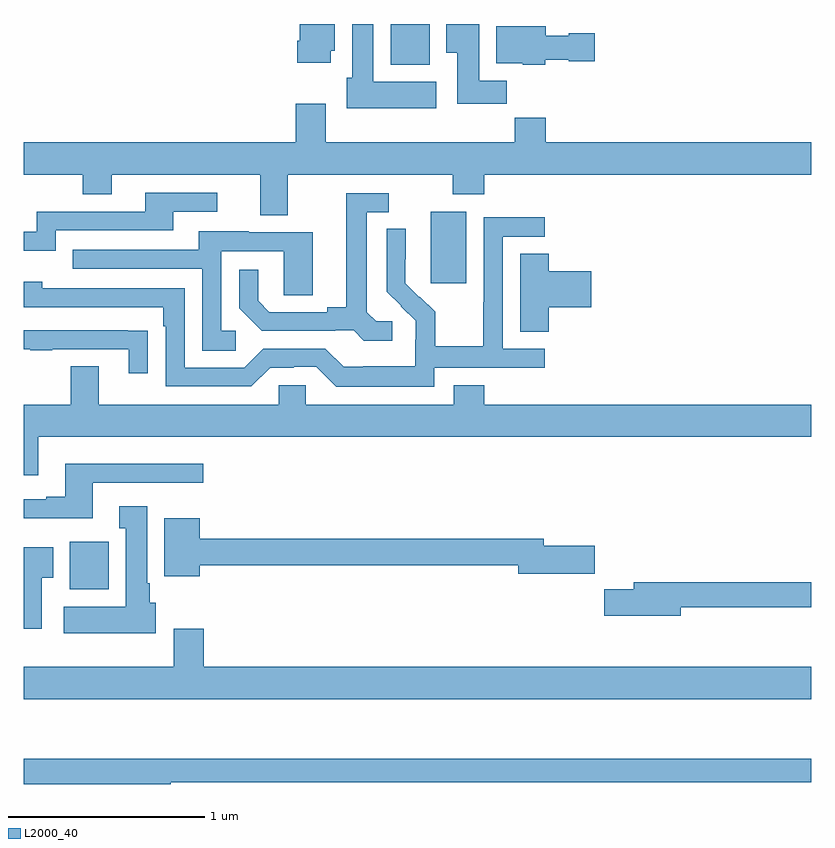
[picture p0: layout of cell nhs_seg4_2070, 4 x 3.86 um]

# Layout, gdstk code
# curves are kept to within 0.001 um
import gdstk
lib = gdstk.Library(unit=1e-6, precision=1e-09)
def R(c, l, rs):  # rectangles x0, y0, x1, y1
    for r in rs: c.add(gdstk.rectangle(r[:2], r[2:], *l))
def P(c, l, *ps):  # polygons
    for p in ps: c.add(gdstk.Polygon(p, *l))
L2000_40 = (2000, 40)

nhs_seg4_2070 = lib.new_cell('nhs_seg4_2070')
R(nhs_seg4_2070, L2000_40, [(217.235,812.03,217.432,812.272), (219.068,813.585,219.247,813.946), (218.865,814.694,219.061,814.9)])
P(nhs_seg4_2070, L2000_40, [(219.452,814.612),(219.313,814.612),(219.313,814.9),(219.146,814.9),(219.146,814.753),(219.203,814.753),(219.203,814.494),(219.452,814.494)],
  [(219.094,814.606),(218.776,814.606),(218.776,814.9),(218.669,814.9),(218.669,814.626),(218.642,814.626),(218.642,814.472),(219.094,814.472)],
  [(218.56,814.764),(218.581,814.764),(218.581,814.9),(218.402,814.9),(218.402,814.816),(218.39,814.816),(218.39,814.704),(218.56,814.704)],
  [(219.648,814.718),(219.768,814.718),(219.768,814.711),(219.901,814.711),(219.901,814.853),(219.768,814.853),(219.768,814.84),(219.652,814.84),(219.652,814.888),(219.401,814.888),(219.401,814.7),(219.534,814.7),(219.534,814.694),(219.648,814.694)],
  [(218.341,814.136),(219.178,814.136),(219.178,814.037),(219.338,814.037),(219.338,814.136),(221,814.136),(221,814.3),(219.65,814.3),(219.65,814.424),(219.493,814.424),(219.493,814.3),(218.533,814.3),(218.533,814.495),(218.381,814.495),(218.381,814.3),(217,814.3),(217,814.136),(217.3,814.136),(217.3,814.037),(217.447,814.037),(217.447,814.136),(218.201,814.136),(218.201,813.928),(218.341,813.928)],
  [(217.164,813.852),(217.759,813.852),(217.759,813.948),(217.984,813.948),(217.984,814.044),(217.619,814.044),(217.619,813.948),(217.068,813.948),(217.068,813.846),(217,813.846),(217,813.749),(217.164,813.749)],
  [(218.872,813.39),(218.79,813.39),(218.743,813.437),(218.743,813.945),(218.854,813.945),(218.854,814.041),(218.639,814.041),(218.639,813.461),(218.543,813.461),(218.543,813.438),(218.248,813.438),(218.191,813.495),(218.191,813.652),(218.094,813.652),(218.094,813.458),(218.21,813.342),(218.582,813.342),(218.582,813.345),(218.676,813.345),(218.728,813.293),(218.872,813.293)],
  [(219.084,813.156),(219.646,813.156),(219.646,813.252),(219.432,813.252),(219.432,813.819),(219.646,813.819),(219.646,813.918),(219.336,813.918),(219.336,813.488),(219.334,813.488),(219.334,813.265),(219.089,813.265),(219.089,813.439),(219.012,813.516),(219.009,813.513),(218.939,813.584),(218.94,813.86),(218.844,813.86),(218.844,813.542),(218.99,813.394),(218.99,813.297),(218.988,813.297),(218.988,813.163),(218.725,813.163),(218.725,813.159),(218.625,813.159),(218.532,813.252),(218.217,813.252),(218.121,813.156),(217.818,813.156),(217.818,813.558),(217.094,813.558),(217.094,813.592),(217,813.592),(217,813.462),(217.709,813.462),(217.709,813.365),(217.722,813.365),(217.722,813.06),(218.157,813.06),(218.253,813.156),(218.372,813.156),(218.372,813.159),(218.487,813.159),(218.587,813.059),(219.084,813.059)],
  [(218.077,813.342),(218.004,813.342),(218.004,813.747),(218.322,813.747),(218.322,813.523),(218.467,813.523),(218.467,813.843),(218.143,813.843),(218.143,813.847),(217.889,813.847),(217.889,813.753),(217.249,813.753),(217.249,813.657),(217.908,813.657),(217.908,813.241),(218.077,813.241)],
  [(219.665,813.461),(219.883,813.461),(219.883,813.644),(219.665,813.644),(219.665,813.734),(219.521,813.734),(219.521,813.337),(219.665,813.337)],
  [(217.631,813.344),(217.529,813.344),(217.529,813.345),(217,813.345),(217,813.249),(217.033,813.249),(217.033,813.244),(217.145,813.244),(217.145,813.249),(217.535,813.249),(217.535,813.126),(217.631,813.126)],
  [(217.075,812.804),(221,812.804),(221,812.968),(219.338,812.968),(219.338,813.067),(219.185,813.067),(219.185,812.968),(218.433,812.968),(218.433,813.066),(218.295,813.066),(218.295,812.968),(217.381,812.968),(217.381,813.163),(217.241,813.163),(217.241,812.968),(217,812.968),(217,812.61),(217.075,812.61)],
  [(217.351,812.571),(217.912,812.571),(217.912,812.668),(217.211,812.668),(217.211,812.5),(217.115,812.5),(217.115,812.487),(217,812.487),(217,812.39),(217.351,812.39)],
  [(217.672,811.962),(217.642,811.962),(217.642,812.062),(217.627,812.062),(217.627,812.452),(217.487,812.452),(217.487,812.339),(217.52,812.339),(217.52,811.942),(217.203,811.942),(217.203,811.808),(217.672,811.808)],
  [(217.894,812.152),(219.512,812.152),(219.512,812.11),(219.901,812.11),(219.901,812.252),(219.64,812.252),(219.64,812.288),(217.894,812.288),(217.894,812.392),(217.715,812.392),(217.715,812.096),(217.894,812.096)],
  [(217.093,812.089),(217.15,812.089),(217.15,812.245),(217,812.245),(217,811.83),(217.093,811.83)],
  [(220.336,811.938),(221,811.938),(221,812.066),(220.097,812.066),(220.097,812.03),(219.948,812.03),(219.948,811.895),(220.336,811.895)],
  [(221,811.636),(217.916,811.636),(217.916,811.831),(217.763,811.831),(217.763,811.636),(217,811.636),(217,811.472),(221,811.472)],
  [(217.748,811.05),(221,811.05),(221,811.171),(217,811.171),(217,811.042),(217.748,811.042)])

lib.write_gds('nhs_seg4_2070.gds')
